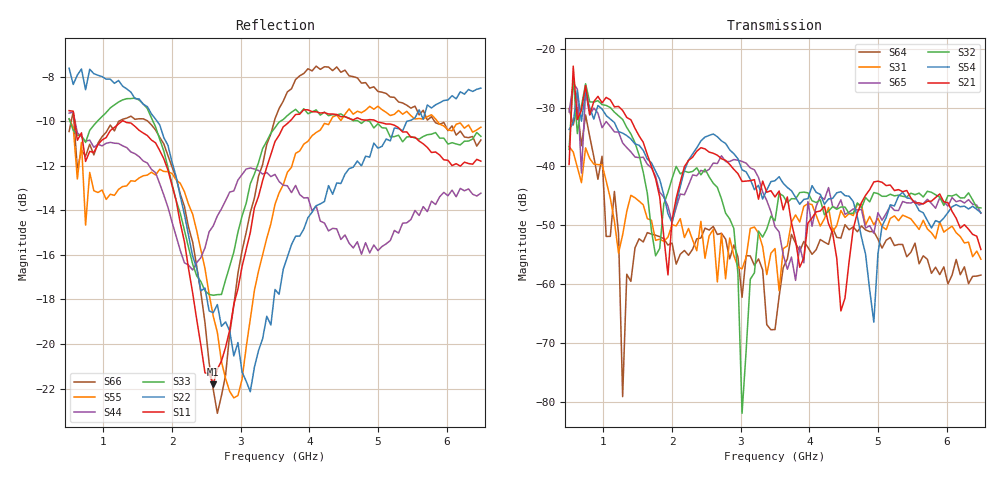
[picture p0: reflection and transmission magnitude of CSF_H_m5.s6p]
!Keysight Technologies,M9804A,MY58100912,A.14.10.03
!Date: Thursday, April 27, 2023 10:28:33
!Correction: S11(C  6-Port  )
!S12(C  6-Port  )
!S13(C  6-Port  )
!S14(C  6-Port  )
!S15(C  6-Port  )
!S16(C  6-Port  )
!S21(C  6-Port  )
!S22(C  6-Port  )
!S23(C  6-Port  )
!S24(C  6-Port  )
!S25(C  6-Port  )
!S26(C  6-Port  )
!S31(C  6-Port  )
!S32(C  6-Port  )
!S33(C  6-Port  )
!S34(C  6-Port  )
!S35(C  6-Port  )
!S36(C  6-Port  )
!S41(C  6-Port  )
!S42(C  6-Port  )
!S43(C  6-Port  )
!S44(C  6-Port  )
!S45(C  6-Port  )
!S46(C  6-Port  )
!S51(C  6-Port  )
!S52(C  6-Port  )
!S53(C  6-Port  )
!S54(C  6-Port  )
!S55(C  6-Port  )
!S56(C  6-Port  )
!S61(C  6-Port  )
!S62(C  6-Port  )
!S63(C  6-Port  )
!S64(C  6-Port  )
!S65(C  6-Port  )
!S66(C  6-Port  )
!S6P File: Measurement: :
# Hz S  RI  R 50
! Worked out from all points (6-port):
!   101 points, 500 MHz to 6.5 GHz, reference 50 ohm
!   strongest paths, dB at 500 MHz, 2 GHz, 3.5 GHz, 5 GHz, 6.5 GHz:
!     S21: -39.7, -49.1, -45.2, -42.5, -54.1
!     S54: -33.7, -49.6, -42.4, -54.9, -47.9
!     S32: -37.1, -42.1, -49.2, -44.6, -47.0
!     S65: -30.8, -49.4, -50.3, -47.9, -47.9
!     S31: -36.6, -49.9, -54.0, -48.8, -55.8
!     S64: -30.2, -53.0, -67.7, -52.4, -58.5
!   lowest |S11| = -21.8 dB at 2.6 GHz (marker M1), VSWR 1.18, Z = 42.7 + j1.9 ohm
!   |S11| at or under -10 dB: 580.4 MHz to 1.271 GHz (690.4 MHz wide, 74.6 % of centre); 1.296 GHz to 3.718 GHz (2.422 GHz wide, 96.6 % of centre); 4.972 GHz to end of sweep
